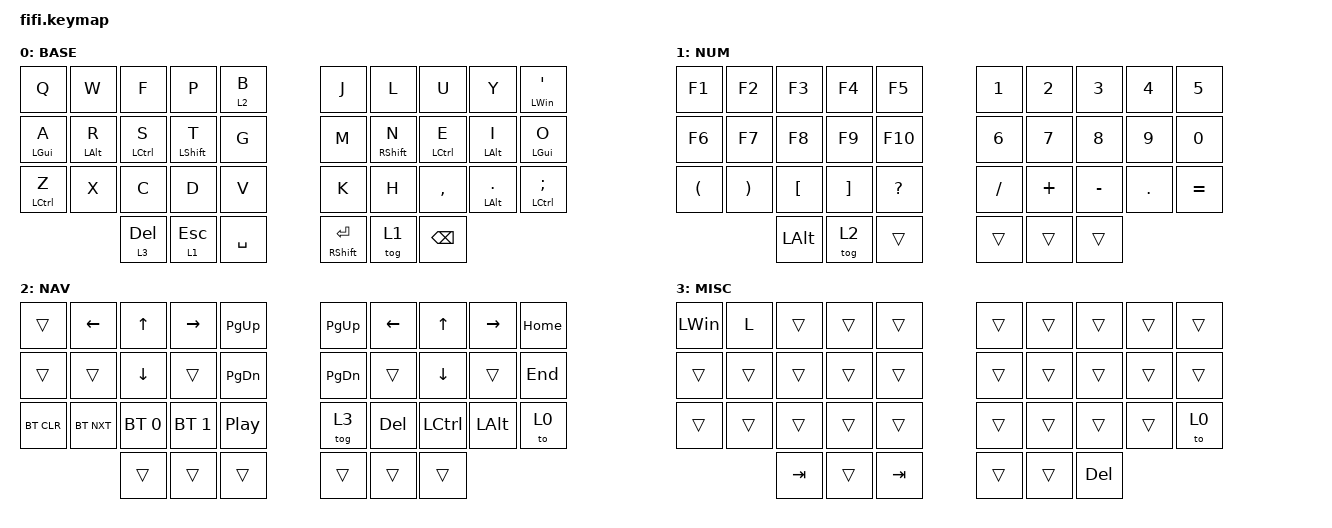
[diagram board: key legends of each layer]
/*
 * Copyright (c) 2020 The ZMK Contributors 
 *
 * SPDX-License-Identifier: MIT
 */

#include <behaviors.dtsi>
#include <dt-bindings/zmk/keys.h>
#include <dt-bindings/zmk/bt.h>

#define HOST_OS 2



#define DEFAULT 0
#define NUM     1
#define NAV     2
#define MISC    3




&mt {
    tapping-term-ms = <150>;
    flavor = "tap-preferred";
    };


/ {
    behaviors {
        hm: homerow_mods {
            compatible = "zmk,behavior-hold-tap";
            label = "homerow mods";
            #binding-cells = <2>;
            tapping_term_ms = <200>;
            quick-tap-ms = <0>;
            flavor = "tap-preferred";
            bindings = <&kp>, <&kp>;
            };
        
        ht_hp: ht_hp_mods {
            compatible = "zmk,behavior-hold-tap";
            label = "HT_HP";
            #binding-cells = <2>;
            tapping-term-ms = <250>;
            flavor = "hold-preferred";
            bindings = <&kp>, <&kp>;
            };
        parentheses_chevrons: parentheses_chevrons {
            compatible = "zmk,behavior-mod-morph";
            label = "parentheses_chevrons";
            #binding-cells = <0>;
            bindings = <&parentheses>, <&chevrons>;
            mods = <(MOD_LSFT)>;
            };


        };
    };

/ {
    macros {

            your_macro: your_macro {
            compatible = "zmk,behavior-macro";
            label = "YOUR_MACRO";
            #binding-cells = <0>;
            bindings =
               <&macro_press &kp LSHFT>,
               <&macro_press &kp LGUI>,
               <&macro_tap &kp S>,
               <&macro_release &kp LGUI>,
               <&macro_release &kp LSHFT>;
            };

            macro_par: macro_par {
                label = "macro_par";
                compatible = "zmk,behavior-macro";
                #binding-cells = <0>;
                tap-ms = <10>;
                wait-ms = <10>;
                bindings = <&macro_tap &kp LPAR &kp RPAR &kp LEFT>;
                };

            parentheses: parentheses {
                        label = "parentheses";
                        compatible = "zmk,behavior-macro";
                        #binding-cells = <0>;
                        bindings = <&macro_tap &kp LPAR &kp RPAR &kp LEFT>;
                };

            chevrons: chevrons {
                label = "chevrons";
                compatible = "zmk,behavior-macro";
                #binding-cells = <0>;
                wait-ms = <10>;
                tap-ms = <10>;
                bindings = <&macro_tap &kp LT &kp GT &kp LEFT>;
                };

          };
    };


/ {
    combos {
        compatible = "zmk,combos";
        combo_scrn_shot {
            timeout-ms = <70>;
            key-positions = <0 4>;
            bindings = <&kp LG(LS(S))>;
        };

        combo_scsnip {
            timeout-ms = <70>;
            key-positions = <30 32>;
            bindings = <&kp TAB>;
        };
        combo_bt_clr {
            timeout-ms = <70>;
            key-positions = <14 9>;
            bindings = <&bt BT_CLR>;
        };


        combo_alt_tab {
            timeout-ms = <70>;
            key-positions = <24 5>;
            bindings = <&kp LA(TAB)>;
        };

        combo_Parentheses {
            timeout-ms = <70>;
            key-positions = <0 29>;
            bindings = <&macro_par>;
        };

        combo_bracket_round_l {
            timeout-ms = <70>;
            key-positions = <1 18>;
            bindings = <&kp LPAR>;
        };
        combo_bracket_round_r {
            timeout-ms = <70>;
            key-positions = <1 19>;
            bindings = <&kp RIGHT_PARENTHESIS>;
        };

        combo_parentheses_chevrons {
            timeout-ms = <70>;
            key-positions = <1 29>;
            bindings = <&parentheses_chevrons>;
        };

        combo_bracket_square_l {
            timeout-ms = <70>;
            key-positions = <0 16>;
            bindings = <&kp LBKT>;
        };

        combo_bracket_square_r {
            timeout-ms = <70>;
            key-positions = <0 17>;
            bindings = <&kp RBKT>;
        };
    };

};



                                  // ╭─────────────┬─────────────┬─────────────┬─────────────┬─────────────╮   ╭─────────────┬─────────────┬─────────────┬─────────────┬─────────────╮
                                  //	    0             1             2             3            4                  5             6             7             8             9
                                  // ├─────────────┼─────────────┼─────────────┼─────────────┼─────────────┤   ├─────────────┼─────────────┼─────────────┼─────────────┼─────────────┤
                                  //       10             11            12            13          14                 15            16            17            18            19
                                  // ├─────────────┼─────────────┼─────────────┼─────────────┼─────────────┤   ├─────────────┼─────────────┼─────────────┼─────────────┼─────────────┤
                                  //       20             21            22            23          24                 25            26            27            28            29	
                                  // ╰─────────────┼─────────────┼─────────────┼─────────────┼─────────────┤   ├─────────────┼─────────────┼─────────────┼─────────────┼─────────────╯
                                  //                                    31            31            32                33            34            35
                                  //                             ╰─────────────┴─────────────┴─────────────╯   ╰─────────────┴─────────────┴─────────────╯




/ {
    combos {
        compatible = "zmk,combos";
        combo_scrn_shot {
            timeout-ms = <70>;
            key-positions = <0 4>;
            bindings = <&kp LG(LS(S))>;
        };

        combo_scsnip {
            timeout-ms = <70>;
            key-positions = <1 9>;
            bindings = <&your_macro>;
        };


        combo_alt_tab {
            timeout-ms = <70>;
            key-positions = <24 5>;
            bindings = <&kp LA(TAB)>;
        };

        combo_Parentheses {
            timeout-ms = <70>;
            key-positions = <0 29>;
            bindings = <&macro_par>;
        };

        combo_bracket_round_l {
            timeout-ms = <70>;
            key-positions = <1 18>;
            bindings = <&kp LPAR>;
        };
        combo_bracket_round_r {
            timeout-ms = <70>;
            key-positions = <1 19>;
            bindings = <&kp RIGHT_PARENTHESIS>;
        };

        combo_parentheses_chevrons {
            timeout-ms = <70>;
            key-positions = <1 29>;
            bindings = <&parentheses_chevrons>;
        };

        combo_bracket_square_l {
            timeout-ms = <70>;
            key-positions = <0 16>;
            bindings = <&kp LBKT>;
        };

        combo_bracket_square_r {
            timeout-ms = <70>;
            key-positions = <0 17>;
            bindings = <&kp RBKT>;
        };
    };

};

/ {
    keymap {
            compatible = "zmk,keymap";

            BASE {
                    label = "BASE";
                    bindings = <
                                  // ╭─────────────┬─────────────┬─────────────┬─────────────┬─────────────╮   ╭─────────────┬─────────────┬─────────────┬─────────────┬───────────────────╮
                                           &kp Q        &kp W          &kp F        &kp P      &lt 2 B             &kp J          &kp L        &kp U          &kp Y       &ht_hp LWIN SQT
                                  // ├─────────────┼─────────────┼─────────────┼─────────────┼─────────────┤   ├─────────────┼─────────────┼─────────────┼─────────────┼───────────────────┤
                                        &ht_hp  LGUI A   &ht_hp LALT R   &ht_hp LCTRL S  &ht_hp LSHFT T    &kp G            &kp M      &ht_hp RSHFT N  &ht_hp LCTRL E   &ht_hp LALT I   &ht_hp LGUI O 
                                  // ├─────────────┼─────────────┼─────────────┼─────────────┼─────────────┤   ├─────────────┼─────────────┼─────────────┼─────────────┼───────────────────┤
                                      &ht_hp LCTRL Z    &kp X          &kp C        &kp D         &kp V             &kp K          &kp H     &kp COMMA   &ht_hp LALT DOT  &ht_hp LCTRL SEMI 
                                  // ╰─────────────┼─────────────┼─────────────┼─────────────┼─────────────┤   ├─────────────┼─────────────┼─────────────┼─────────────┼───────────────────╯
                                                                   &lt 3 DEL      &lt 1 ESC     &kp SPACE       &mt RSHFT RET      &tog 1       &kp BSPC
                                  //                             ╰─────────────┴─────────────┴─────────────╯   ╰─────────────┴─────────────┴─────────────╯
                                >;
                };

            NUM {
                    label = "NUM";
                    bindings = <
                                
                                  // ╭─────────────┬─────────────┬─────────────┬─────────────┬─────────────╮   ╭─────────────┬─────────────┬─────────────┬─────────────┬─────────────╮      
                                          &kp F1        &kp F2        &kp F3        &kp F4        &kp F5           &kp N1         &kp N2       &kp N3        &kp N4        &kp N5
                                  // ├─────────────┼─────────────┼─────────────┼─────────────┼─────────────┤   ├─────────────┼─────────────┼─────────────┼─────────────┼─────────────┤
                                          &kp F6        &kp F7        &kp F8        &kp F9        &kp F10          &kp N6         &kp N7       &kp N8        &kp N9        &kp N0
                                  // ├─────────────┼─────────────┼─────────────┼─────────────┼─────────────┤   ├─────────────┼─────────────┼─────────────┼─────────────┼─────────────┤
                                          &kp LPAR     &kp RPAR       &kp LBKT      &kp RBKT      &kp QMARK        &kp FSLH       &kp PLUS     &kp MINUS     &kp DOT       &kp EQUAL
                                  // ╰─────────────┼─────────────┼─────────────┼─────────────┼─────────────┤   ├─────────────┼─────────────┼─────────────┼─────────────┼─────────────╯
                                                                      &kp LALT      &tog 2        &trans            &trans         &trans       &trans
                                  //                             ╰─────────────┴─────────────┴─────────────╯   ╰─────────────┴─────────────┴─────────────╯
                            >;
                };

            NAV {
                    label = "NAV";
                    bindings = <
                                  // ╭─────────────┬─────────────┬─────────────┬─────────────┬─────────────╮   ╭─────────────┬─────────────┬─────────────┬─────────────┬─────────────╮  
                                          &trans       &kp LEFT       &kp UP      &kp RIGHT     &kp PG_UP         &kp PG_UP       &kp LEFT      &kp UP      &kp RIGHT       &kp HOME
                                  // ├─────────────┼─────────────┼─────────────┼─────────────┼─────────────┤   ├─────────────┼─────────────┼─────────────┼─────────────┼─────────────┤
                                          &trans       &trans         &kp DOWN      &trans      &kp PG_DN         &kp PG_DN        &trans        &kp DOWN    &trans          &kp END
                                  // ├─────────────┼─────────────┼─────────────┼─────────────┼─────────────┤   ├─────────────┼─────────────┼─────────────┼─────────────┼─────────────┤
                                        &bt BT_CLR    &bt BT_NXT   &bt BT_SEL 0  &bt BT_SEL 1   &kp C_PP           &tog 3       &kp DELETE     &kp LCTRL   &kp LALT        &to 0
                                  // ╰─────────────┼─────────────┼─────────────┼─────────────┼─────────────┤   ├─────────────┼─────────────┼─────────────┼─────────────┼─────────────╯
                                                                      &trans        &trans      &trans              &trans        &trans        &trans
                                  //                             ╰─────────────┴─────────────┴─────────────╯   ╰─────────────┴─────────────┴─────────────╯
                            >;
                };

            MISC {
                    bindings = <
                                  // ╭─────────────┬─────────────┬─────────────┬─────────────┬─────────────╮   ╭─────────────┬─────────────┬─────────────┬─────────────┬─────────────╮ 
                                         &kp LWIN       &kp L         &trans        &trans       &trans             &trans        &trans        &trans         &trans        &trans 
                                  // ├─────────────┼─────────────┼─────────────┼─────────────┼─────────────┤   ├─────────────┼─────────────┼─────────────┼─────────────┼─────────────┤
                                         &trans          &trans      &trans       &trans       &trans             &trans        &trans        &trans        &trans        &trans 
                                  // ├─────────────┼─────────────┼─────────────┼─────────────┼─────────────┤   ├─────────────┼─────────────┼─────────────┼─────────────┼─────────────┤
                                         &trans         &trans        &trans        &trans       &trans             &trans        &trans        &trans        &trans        &to 0
                                  // ╰─────────────┼─────────────┼─────────────┼─────────────┼─────────────┤   ├─────────────┼─────────────┼─────────────┼─────────────┼─────────────╯
                                                                      &kp TAB       &trans       &kp TAB            &trans        &trans        &kp DEL
                                  //                             ╰─────────────┴─────────────┴─────────────╯   ╰─────────────┴─────────────┴─────────────╯
                            >;
                };
        };
};
